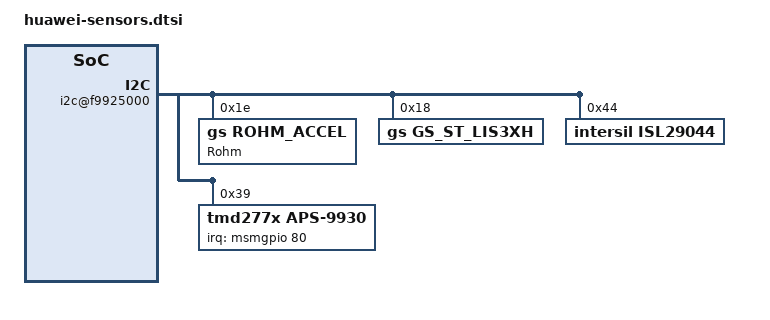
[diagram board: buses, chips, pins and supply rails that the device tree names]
/*use fromdos convert file format to linux*/
/* Copyright (c) 2013 The Linux Foundation. All rights reserved.
 *
 * This program is free software; you can redistribute it and/or modify
 * it under the terms of the GNU General Public License version 2 and
 * only version 2 as published by the Free Software Foundation.
 *
 * This program is distributed in the hope that it will be useful,
 * but WITHOUT ANY WARRANTY; without even the implied warranty of
 * MERCHANTABILITY or FITNESS FOR A PARTICULAR PURPOSE.  See the
 * GNU General Public License for more details.
 */
 &soc {
	i2c@f9925000 { /* BLSP-1 QUP-3 */
			/*don't use the acc device, delete it.*/

		Rohm@1e {
			compatible = "gs,Rohm_accel";
			reg = <0x1e>;
			gs,int1_gpio = <81>;
			gs,int2_gpio = <82>;
			/*	COMPASS_TOP_GS_TOP 			=0, */
			/*	COMPASS_TOP_GS_BOTTOM 		=1, */
			/*	COMPASS_BOTTOM_GS_TOP 		=2, */
			/*	COMPASS_BOTTOM_GS_BOTTOM	       =3, */
			/*	COMPASS_NONE_GS_BOTTOM		=4, */
			/*	COMPASS_NONE_GS_TOP			=5, */
			gs,compass_gs_position = <1>;
			gs,min_interval = <5>;
			gs,poll_interval = <200>;
			gs,accel_direction = <1>;
			gs,accel_irq_use_drdy = <1>;
			gs,accel_g_range = <0>;
			gs,accel_res = <0>;
		};

		gs_st_lis3xh@18 {
			compatible = "gs,gs_st_lis3xh";
			reg = <0x18>;
			/*don't need set vdd and vddio, we use ldo19 on 8x12*/
			gs,int1_gpio = <81>;
			gs,int2_gpio = <82>;
			/*	COMPASS_TOP_GS_TOP 			=0, */
			/*	COMPASS_TOP_GS_BOTTOM 		=1, */
			/*	COMPASS_BOTTOM_GS_TOP 		=2, */
			/*	COMPASS_BOTTOM_GS_BOTTOM	       =3, */
			/*	COMPASS_NONE_GS_BOTTOM		=4, */
			/*	COMPASS_NONE_GS_TOP			=5, */
			gs,compass_gs_position = <1>;
			gs,accel_g_range = <0>;
			gs,accel_res = <0>;
		};

		intersil@44 {
			compatible = "intersil,isl29044";
			reg = <0x44>;
			intersil,min_proximity_value = <235>;
			intersil,pwnd_value = <151>;
			intersil,pwave_value = <20>;
			intersil,interrupt_upper = <220>;
			intersil,interrupt_lower = <210>;
		};

		aps-9930@39 {
			compatible = "tmd277x,aps-9930";
			reg = <0x39>;
			interrupt-parent = <&msmgpio>;
			interrupts = <80 0x2>;
			aps,int_gpio = <80>;
			aps,window = <170>;
			aps,wave = <92>;	
			aps,fall = <0>;	
			/*aps,sunlight = <100>;*/
			/*avago lsensor adc table */
 			aps,adc_array = <9 25 110 400 750 1200 3200>;
			tmd2772,prox_th_min = <255>;
			tmd2772,prox_th_max = <480>;
			tmd2772,als_gate = <10>;
		};

	};
};
